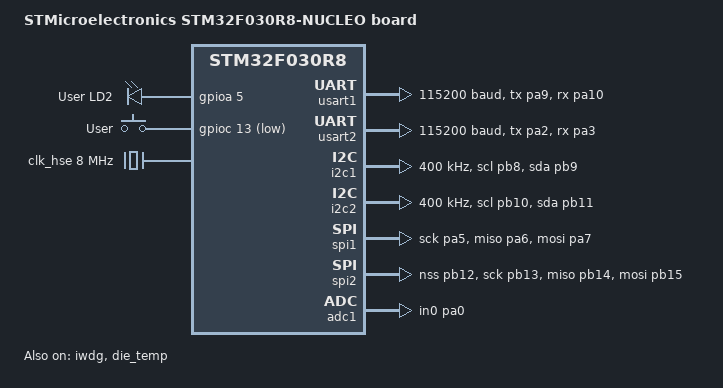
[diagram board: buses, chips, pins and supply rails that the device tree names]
/*
 * Copyright (c) 2017 RnDity Sp. z o.o.
 *
 * SPDX-License-Identifier: Apache-2.0
 */

/dts-v1/;
#include <st/f0/stm32f030X8.dtsi>
#include <st/f0/stm32f030r8tx-pinctrl.dtsi>
#include "arduino_r3_connector.dtsi"

/ {
	model = "STMicroelectronics STM32F030R8-NUCLEO board";
	compatible = "st,stm32f030r8-nucleo";

	chosen {
		zephyr,console = &usart2;
		zephyr,shell-uart = &usart2;
		zephyr,sram = &sram0;
		zephyr,flash = &flash0;
	};

	leds {
		compatible = "gpio-leds";
		green_led_2: led_2 {
			gpios = <&gpioa 5 GPIO_ACTIVE_HIGH>;
			label = "User LD2";
		};
	};

	gpio_keys {
		compatible = "gpio-keys";
		user_button: button {
			label = "User";
			gpios = <&gpioc 13 GPIO_ACTIVE_LOW>;
		};
	};

	aliases {
		led0 = &green_led_2;
		sw0 = &user_button;
		watchdog0 = &iwdg;
		die-temp0 = &die_temp;
	};
};

&clk_hse {
	hse-bypass;
	clock-frequency = <DT_FREQ_M(8)>; /* STLink 8MHz clock */
	status = "okay";
};

&pll {
	prediv = <1>;
	mul = <6>;
	clocks = <&clk_hse>;
	status = "okay";
};

&rcc {
	clocks = <&pll>;
	clock-frequency = <DT_FREQ_M(48)>;
	ahb-prescaler = <1>;
	apb1-prescaler = <1>;
};

/* Due to limited available memory, don't enable gpiod and gpiof */
/* (Test cases fail due to 'SRAM' region overflow) */
&gpiod {status = "disabled";};
&gpiof {status = "disabled";};

&usart1 {
	pinctrl-0 = <&usart1_tx_pa9 &usart1_rx_pa10>;
	pinctrl-names = "default";
	current-speed = <115200>;
	status = "okay";
};

&usart2 {
	pinctrl-0 = <&usart2_tx_pa2 &usart2_rx_pa3>;
	pinctrl-names = "default";
	current-speed = <115200>;
	status = "okay";
};

&i2c1 {
	pinctrl-0 = <&i2c1_scl_pb8 &i2c1_sda_pb9>;
	pinctrl-names = "default";
	status = "okay";
	clock-frequency = <I2C_BITRATE_FAST>;
};

&i2c2 {
	pinctrl-0 = <&i2c2_scl_pb10 &i2c2_sda_pb11>;
	pinctrl-names = "default";
	status = "okay";
	clock-frequency = <I2C_BITRATE_FAST>;
};

&spi1 {
	pinctrl-0 = <&spi1_sck_pa5 &spi1_miso_pa6 &spi1_mosi_pa7>;
	pinctrl-names = "default";
	cs-gpios = <&gpiob 6 (GPIO_ACTIVE_LOW | GPIO_PULL_UP)>;
	status = "okay";
};

&spi2 {
	pinctrl-0 = <&spi2_nss_pb12 &spi2_sck_pb13
		     &spi2_miso_pb14 &spi2_mosi_pb15>;
	pinctrl-names = "default";
	status = "okay";
};

&adc1 {
	pinctrl-0 = <&adc_in0_pa0>;
	pinctrl-names = "default";
	status = "okay";
};

&iwdg {
	status = "okay";
};

&die_temp {
	status = "okay";
};
